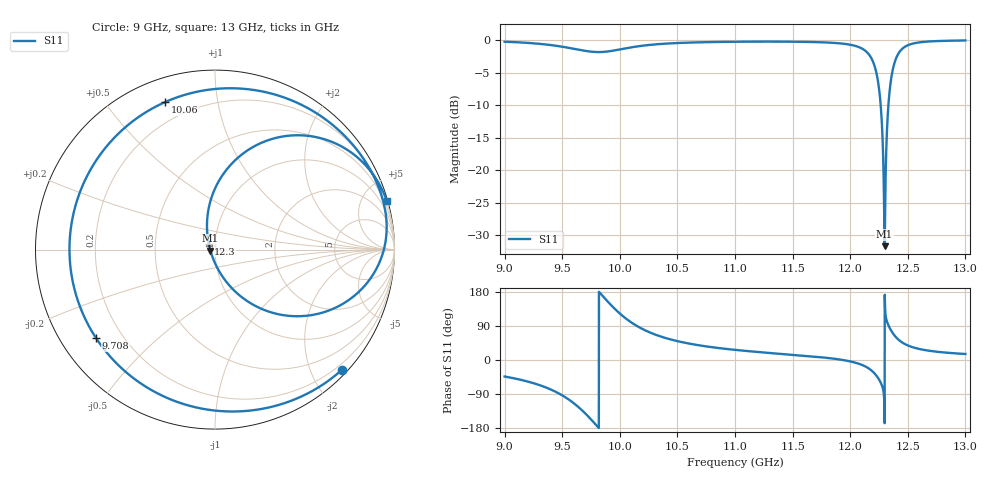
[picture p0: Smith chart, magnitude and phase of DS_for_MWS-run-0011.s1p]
! TOUCHSTONE file generated by CST DESIGN STUDIO
! Date and time: Tue Feb  4 17:29:56 2025
! Project name: C:\Work\MatlabApps\UnitCellOptimizationMatlab\CST\unitcell.cst
! Tree item: Tasks\Sweep1\SPara1\S-Parameters
! Header version: 2024
! Port assignment regex: !\s*Touchstone port\s*([0-9]+)\s*=\s*(CST MWS port|CST DES external port|CST DES block port)\s*(.+)\s* \(\"(.*)\"\)(\s*mode\s*([0-9]+))?.*
! Touchstone port assignment:
! Touchstone port 1 = CST DES external port 1 ("")
# GHz S MA R 50
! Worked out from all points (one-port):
!   4001 points, 9 GHz to 13 GHz, reference 50 ohm
!   lowest |S11| = -31.7 dB at 12.3 GHz (marker M1), VSWR 1.05, Z = 47.5 - j0.566 ohm
!   |S11| at or under -10 dB: 12.26 GHz to 12.33 GHz (66.76 MHz wide, 0.543 % of centre)
!   S11 on the Smith chart (normalised r, x): 9 GHz: 0.10, -2.50; 9.708 GHz: 0.11, -0.33; 10.06 GHz: 0.11, +0.71; 12.3 GHz: 0.93, +0.06; 13 GHz: 0.12, +7.19
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9  0.9736 -43.6
9.276  0.9426 -63.5
9.5  0.8915 -93.2
9.61  0.8562 -116.4
9.708  0.826 -143.4
9.78  0.8126 -166.7
9.846  0.8121 170.7
10  0.8493 122.7
10.056  0.8677 108.7
10.265  0.9214 72.2
10.5  0.9514 49.8
11  0.973 26.7
11.5  0.9737 13.8
12  0.9232 -3.7
12.134  0.8258 -17.4
12.218  0.6066 -37.7
12.259  0.3615 -56.2
12.271  0.2641 -63.9
12.286  0.1288 -78.1
12.299  0.02613 -166.8
12.303  0.04877 136.0
12.313  0.143 108.2
12.334  0.3381 90.1
12.364  0.561 73.5
12.413  0.7741 55.3
12.5  0.9145 38.4
12.666  0.9754 25.3
13  0.9956 15.8
